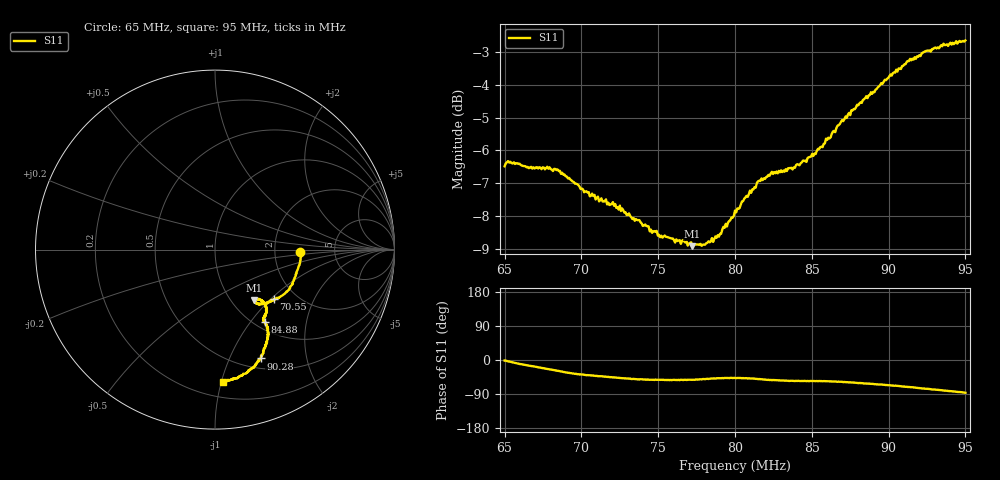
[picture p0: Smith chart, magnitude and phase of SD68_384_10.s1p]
! NanoVNA-App
! Date: 2025-08-02 15:39:53
! Start: 65MHz Stop: 95MHz Points: 401
! S-Parameter data: F S11
# Hz S RI R 50
!  Frequency  S11_Real  S11_Imag
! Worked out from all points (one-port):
!   401 points, 65 MHz to 95 MHz, reference 50 ohm
!   lowest |S11| = -8.9 dB at 77.22 MHz (marker M1), VSWR 2.12, Z = 63.2 - j41.1 ohm
!   |S11| at or under -10 dB: nowhere
!   S11 on the Smith chart (normalised r, x): 65 MHz: 2.80, -0.09; 70.55 MHz: 1.54, -1.04; 84.88 MHz: 1.11, -1.18; 90.28 MHz: 0.61, -1.31; 95 MHz: 0.31, -1.01
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6.5e7  0.474 -0.0129
6.575e7  0.4744 -0.0674
6.7175e7  0.4439 -0.1557
6.7925e7  0.4297 -0.1965
6.875e7  0.3991 -0.2358
6.9725e7  0.354 -0.2703
7.055e7  0.326 -0.2755
7.25e7  0.2791 -0.3045
7.34e7  0.2551 -0.302
7.46e7  0.2293 -0.2974
7.625e7  0.2198 -0.2912
7.7225e7  0.2192 -0.2835
7.7975e7  0.2305 -0.2768
7.8725e7  0.2435 -0.2795
8e7  0.275 -0.2988
8.0825e7  0.2814 -0.3198
8.1575e7  0.2885 -0.3463
8.225e7  0.2766 -0.3659
8.375e7  0.2698 -0.3836
8.4875e7  0.2783 -0.4034
8.615e7  0.2884 -0.4362
8.75e7  0.2947 -0.4847
8.96e7  0.2684 -0.5731
9.0275e7  0.2538 -0.6063
9.125e7  0.2203 -0.6498
9.2375e7  0.1732 -0.688
9.35e7  0.1273 -0.7113
9.5e7  0.0457 -0.7358
